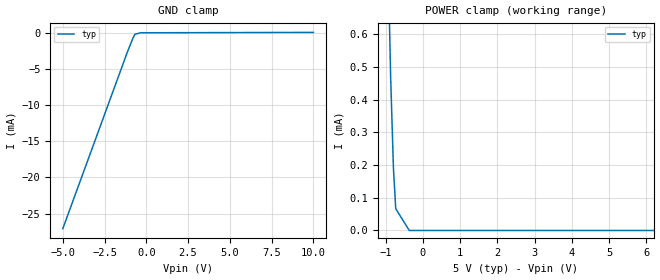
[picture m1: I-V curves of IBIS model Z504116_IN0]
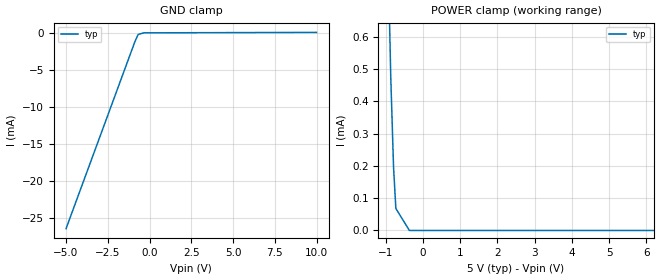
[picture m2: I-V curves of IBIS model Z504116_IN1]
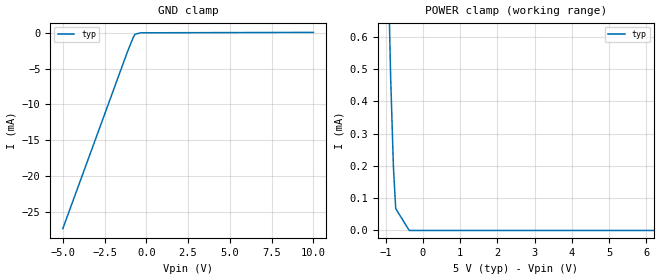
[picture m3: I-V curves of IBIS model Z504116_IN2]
| YOU ARE ONLY AUTHORIZED TO USE THIS SOFTWARE
| ACCORDING TO LICENSOR'S LICENSE RESTRICTIONS.
[IBIS Ver] 3.1
[File Name] mc54hc595aj.ibs
[File Rev] 2.0
[Source] Measured and created by ICX Technology
[Date] Friday 7/14/00 9:08:07 AM
[Copyright]
| (C) COPYRIGHT 1993-2000
| MENTOR GRAPHICS CORPORATION
| ICX STANDARD LIBRARY, ICX PROJECT MODELING,
| ICX CUSTOM MODELING, ICX VENDOR MODEL
| ALL RIGHTS RESERVED.
| THE FOLLOWING ARE TRADEMARKS OR SERVICE MARKS OF
| MENTOR GRAPHICS CORPORATION:ICX (R), ICX STANDARD
| LIBRARY(R), ICX PROJECT MODELING(R), ICX CUSTOM
| MODELING(R), qualityIBIS(TM), MODELVIEWER(TM),
| AND MODELEDITOR(TM)
| ALL COPIES OF SOFTWARE, INCLUDING BUT NOT LIMITED TO
| ANY MODIFICATIONS, ENHANCEMENTS OR DERIVATIVE WORKS,
| MUST CONTAIN ALL MENTOR GRAPHICS CORPORATION'S
| NOTICES AND LEGENDS, INCLUDING THOSE EMBEDDED IN
| SOFTWARE AND THOSE AFFIXED TO SOFTWARE MEDIUM
| AND CONTAINER, AS RECEIVED FROM MENTOR GRAPHICS
| CORPORATION.
|  ZAP Model Builder 2.7
[Component] MC54HC595AJ
[Manufacturer] OnSemiconductor
[Package]
| variable   typ   min   max
R_pkg  .212ohms NA NA
L_pkg  4.758nH NA NA
C_pkg  1.944pF NA NA
[Pin] signal_name  model_name  R_pin  L_pin C_pin
1 Q1 Z504116_TRI0 .224 7.258n 2.683p
2 Q2 Z504116_TRI0 .216 5.258n 2.19p
3 Q3 Z504116_TRI0 .208 3.758n 1.697p
4 Q4 Z504116_TRI0 .2 2.758n 1.204p
5 Q5 Z504116_TRI0 .2 2.758n 1.204p
6 Q6 Z504116_TRI0 .208 3.758n 1.697p
7 Q7 Z504116_TRI0 .216 5.258n 2.19p
8 GND GND .224 7.258n 2.683p
9 Q7_PRIME Z504116_OUT0 .224 7.258n 2.683p
10 _SRCLR Z504116_IN0 .216 5.258n 2.19p
11 SRCLK Z504116_IN1 .208 3.758n 1.697p
12 RCLK Z504116_IN2 .2 2.758n 1.204p
13 _G Z504116_IN3 .2 2.758n 1.204p
14 SER Z504116_IN4 .208 3.758n 1.697p
15 Q0 Z504116_TRI0 .216 5.258n 2.19p
16 VCC POWER .224 7.258n 2.683p
| Models and submodels in the file (7): Z504116_IN0 (Input), Z504116_IN1 (Input), Z504116_IN2 (Input), Z504116_IN3 (Input), Z504116_IN4 (Input), Z504116_OUT0 (Output), Z504116_TRI0 (3-state)
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| (C) COPYRIGHT 1993-2000
| MENTOR GRAPHICS CORPORATION
| ICX STANDARD LIBRARY, ICX PROJECT MODELING,
| ICX CUSTOM MODELING, ICX VENDOR MODEL
| ALL RIGHTS RESERVED.
| THE FOLLOWING ARE TRADEMARKS OR SERVICE MARKS OF
| MENTOR GRAPHICS CORPORATION:ICX (R), ICX STANDARD
| LIBRARY(R), ICX PROJECT MODELING(R), ICX CUSTOM
| MODELING(R), qualityIBIS(TM), MODELVIEWER(TM),
| AND MODELEDITOR(TM)
| ALL COPIES OF SOFTWARE, INCLUDING BUT NOT LIMITED TO
| ANY MODIFICATIONS, ENHANCEMENTS OR DERIVATIVE WORKS,
| MUST CONTAIN ALL MENTOR GRAPHICS CORPORATION'S
| NOTICES AND LEGENDS, INCLUDING THOSE EMBEDDED IN
| SOFTWARE AND THOSE AFFIXED TO SOFTWARE MEDIUM
| AND CONTAINER, AS RECEIVED FROM MENTOR GRAPHICS
| CORPORATION.
| Model Application Version 1.89 2/18/99.
[Model] Z504116_IN0
Model_type Input
Vinl = 1.000V
Vinh = 3.500V
C_comp 4.000pF NA NA
| variable typ   min   max
[Voltage Range] 5.000V NA NA
[GND Clamp Reference] 0.000V NA NA
[POWER Clamp Reference] 5.000V NA NA
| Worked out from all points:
|   POWER clamp passes 1 mA (typ) near -0.96 V on its own axis
[GND Clamp]
-5V       -27.08mA   NA         NA
-1.123V   -2.619mA   NA         NA
-800.5mV  -765.7uA   NA         NA
-683.6mV  -239.5uA   NA         NA
-341.8mV  -30.07uA   NA         NA
10V       23.17uA    NA         NA
[POWER Clamp]
-5V       27.06mA    NA         NA
-1.581V   4.747mA    NA         NA
-1.055V   1.478mA    NA         NA
-864mV    470.6uA    NA         NA
-789mV    191.4uA    NA         NA
-727mV    66.67uA    NA         NA
-363.5mV  0A         NA         NA
10V       0A         NA         NA
| (C) COPYRIGHT 1993-2000
| MENTOR GRAPHICS CORPORATION
| ICX STANDARD LIBRARY, ICX PROJECT MODELING,
| ICX CUSTOM MODELING, ICX VENDOR MODEL
| ALL RIGHTS RESERVED.
| THE FOLLOWING ARE TRADEMARKS OR SERVICE MARKS OF
| MENTOR GRAPHICS CORPORATION:ICX (R), ICX STANDARD
| LIBRARY(R), ICX PROJECT MODELING(R), ICX CUSTOM
| MODELING(R), qualityIBIS(TM), MODELVIEWER(TM),
| AND MODELEDITOR(TM)
| ALL COPIES OF SOFTWARE, INCLUDING BUT NOT LIMITED TO
| ANY MODIFICATIONS, ENHANCEMENTS OR DERIVATIVE WORKS,
| MUST CONTAIN ALL MENTOR GRAPHICS CORPORATION'S
| NOTICES AND LEGENDS, INCLUDING THOSE EMBEDDED IN
| SOFTWARE AND THOSE AFFIXED TO SOFTWARE MEDIUM
| AND CONTAINER, AS RECEIVED FROM MENTOR GRAPHICS
| CORPORATION.
| Model Application Version 1.89 2/18/99.
[Model] Z504116_IN1
Model_type Input
Vinl = 1.000V
Vinh = 3.500V
C_comp 4.000pF NA NA
| variable typ   min   max
[Voltage Range] 5.000V NA NA
[GND Clamp Reference] 0.000V NA NA
[POWER Clamp Reference] 5.000V NA NA
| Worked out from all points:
|   GND clamp passes 1 mA (typ) near -0.83 V on its own axis
|   POWER clamp passes 1 mA (typ) near -0.96 V on its own axis
[GND Clamp]
-5V       -26.47mA   NA         NA
-874mV    -1.207mA   NA         NA
-683.5mV  -252.6uA   NA         NA
-341.7mV  -34.16uA   NA         NA
10V       26.47uA    NA         NA
[POWER Clamp]
-5V       27.09mA    NA         NA
-1.43V    3.802mA    NA         NA
-1.055V   1.479mA    NA         NA
-864mV    476.2uA    NA         NA
-789mV    196.3uA    NA         NA
-727mV    68.06uA    NA         NA
-363.5mV  0A         NA         NA
10V       0A         NA         NA
| (C) COPYRIGHT 1993-2000
| MENTOR GRAPHICS CORPORATION
| ICX STANDARD LIBRARY, ICX PROJECT MODELING,
| ICX CUSTOM MODELING, ICX VENDOR MODEL
| ALL RIGHTS RESERVED.
| THE FOLLOWING ARE TRADEMARKS OR SERVICE MARKS OF
| MENTOR GRAPHICS CORPORATION:ICX (R), ICX STANDARD
| LIBRARY(R), ICX PROJECT MODELING(R), ICX CUSTOM
| MODELING(R), qualityIBIS(TM), MODELVIEWER(TM),
| AND MODELEDITOR(TM)
| ALL COPIES OF SOFTWARE, INCLUDING BUT NOT LIMITED TO
| ANY MODIFICATIONS, ENHANCEMENTS OR DERIVATIVE WORKS,
| MUST CONTAIN ALL MENTOR GRAPHICS CORPORATION'S
| NOTICES AND LEGENDS, INCLUDING THOSE EMBEDDED IN
| SOFTWARE AND THOSE AFFIXED TO SOFTWARE MEDIUM
| AND CONTAINER, AS RECEIVED FROM MENTOR GRAPHICS
| CORPORATION.
| Model Application Version 1.89 2/18/99.
[Model] Z504116_IN2
Model_type Input
Vinl = 1.000V
Vinh = 3.500V
C_comp 4.000pF NA NA
| variable typ   min   max
[Voltage Range] 5.000V NA NA
[GND Clamp Reference] 0.000V NA NA
[POWER Clamp Reference] 5.000V NA NA
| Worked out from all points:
|   POWER clamp passes 1 mA (typ) near -0.96 V on its own axis
[GND Clamp]
-5V       -27.29mA   NA         NA
-1.123V   -2.626mA   NA         NA
-800.2mV  -766.3uA   NA         NA
-683.6mV  -241.6uA   NA         NA
-341.8mV  -30.7uA    NA         NA
10V       24.74uA    NA         NA
[POWER Clamp]
-5V       27.34mA    NA         NA
-1.581V   4.756mA    NA         NA
-1.055V   1.475mA    NA         NA
-864mV    476.2uA    NA         NA
-789mV    196uA      NA         NA
-728mV    67.64uA    NA         NA
-364mV    0A         NA         NA
10V       0A         NA         NA
